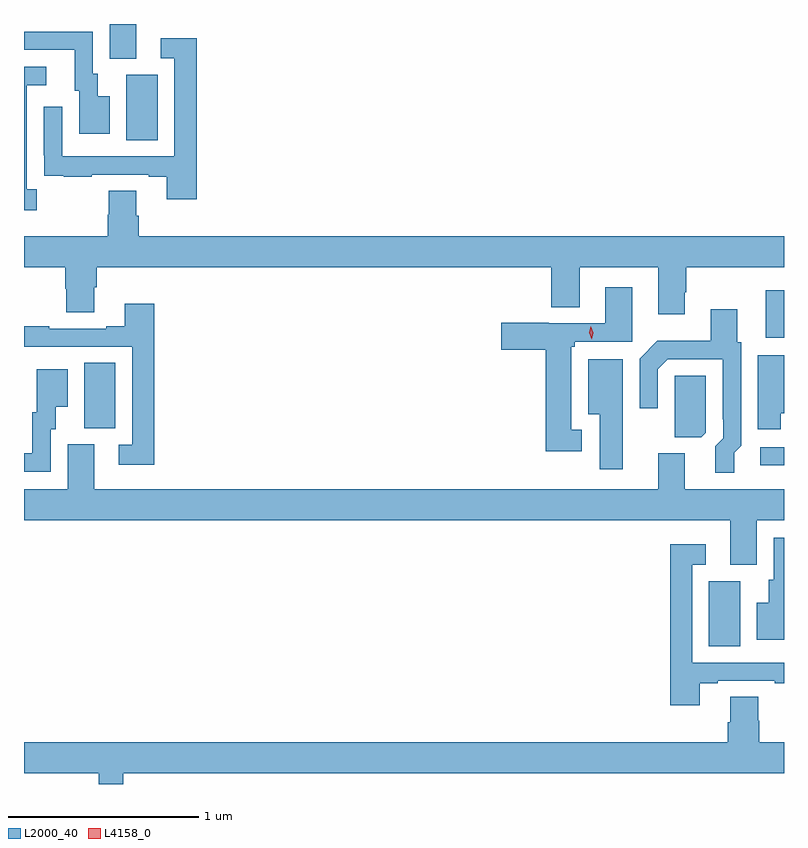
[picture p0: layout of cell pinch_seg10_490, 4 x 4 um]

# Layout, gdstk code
import gdstk
lib = gdstk.Library(unit=1e-6, precision=1e-09)
def R(c, l, rs):  # rectangles x0, y0, x1, y1
    for r in rs: c.add(gdstk.rectangle(r[:2], r[2:], *l))
def P(c, l, *ps):  # polygons
    for p in ps: c.add(gdstk.Polygon(p, *l))
L2000_40 = (2000, 40)
L4158_0 = (4158, 0)

pinch_seg10_490 = lib.new_cell('pinch_seg10_490')
R(pinch_seg10_490, L2000_40, [(210.164,1271.68,210.328,1272.024), (210.435,1272.633,210.559,1272.729), (206.876,1272.829,207.04,1273.172), (210.464,1273.305,210.559,1273.555), (207.098,1274.344,207.262,1274.688), (207.011,1274.773,207.151,1274.956)])
P(pinch_seg10_490, L2000_40, [(207.01,1274.575),(206.947,1274.575),(206.947,1274.694),(206.922,1274.694),(206.922,1274.916),(206.559,1274.916),(206.559,1274.82),(206.825,1274.82),(206.825,1274.604),(206.849,1274.604),(206.849,1274.379),(207.01,1274.379)],
  [(207.467,1274.881),(207.279,1274.881),(207.279,1274.775),(207.351,1274.775),(207.351,1274.259),(206.76,1274.259),(206.76,1274.521),(206.664,1274.521),(206.664,1274.266),(206.665,1274.266),(206.665,1274.157),(206.767,1274.157),(206.767,1274.151),(206.915,1274.151),(206.915,1274.163),(207.215,1274.163),(207.215,1274.151),(207.311,1274.151),(207.311,1274.034),(207.467,1274.034)],
  [(206.626,1274.086),(206.574,1274.086),(206.574,1274.634),(206.677,1274.634),(206.677,1274.73),(206.559,1274.73),(206.559,1273.976),(206.626,1273.976)],
  [(210.037,1273.543),(210.045,1273.543),(210.045,1273.676),(210.559,1273.676),(210.559,1273.84),(207.164,1273.84),(207.164,1273.946),(207.151,1273.946),(207.151,1274.078),(207.004,1274.078),(207.004,1273.953),(206.999,1273.953),(206.999,1273.84),(206.559,1273.84),(206.559,1273.676),(206.777,1273.676),(206.777,1273.563),(206.782,1273.563),(206.782,1273.438),(206.929,1273.438),(206.929,1273.57),(206.942,1273.57),(206.942,1273.676),(209.333,1273.676),(209.333,1273.465),(209.485,1273.465),(209.485,1273.676),(209.897,1273.676),(209.897,1273.428),(210.037,1273.428)],
  [(209.494,1272.821),(209.44,1272.821),(209.44,1273.257),(209.458,1273.257),(209.458,1273.284),(209.761,1273.284),(209.761,1273.57),(209.618,1273.57),(209.618,1273.38),(209.322,1273.38),(209.322,1273.383),(209.07,1273.383),(209.07,1273.241),(209.306,1273.241),(209.306,1272.708),(209.494,1272.708)],
  [(207.245,1273.483),(207.089,1273.483),(207.089,1273.366),(206.993,1273.366),(206.993,1273.353),(206.693,1273.353),(206.693,1273.366),(206.559,1273.366),(206.559,1273.257),(207.129,1273.257),(207.129,1272.741),(207.057,1272.741),(207.057,1272.636),(207.245,1272.636)],
  [(210.298,1272.7),(210.333,1272.735),(210.333,1273.281),(210.313,1273.281),(210.313,1273.456),(210.173,1273.456),(210.173,1273.288),(209.893,1273.288),(209.799,1273.194),(209.799,1272.933),(209.895,1272.933),(209.895,1273.14),(209.946,1273.191),(210.237,1273.191),(210.237,1272.877),(210.24,1272.877),(210.24,1272.777),(210.197,1272.734),(210.197,1272.594),(210.298,1272.594)],
  [(210.543,1272.908),(210.559,1272.908),(210.559,1273.213),(210.422,1273.213),(210.422,1272.822),(210.543,1272.822)],
  [(209.71,1273.192),(209.528,1273.192),(209.528,1272.902),(209.588,1272.902),(209.588,1272.612),(209.71,1272.612)],
  [(206.7,1272.822),(206.725,1272.822),(206.725,1272.941),(206.788,1272.941),(206.788,1273.138),(206.627,1273.138),(206.627,1272.912),(206.603,1272.912),(206.603,1272.696),(206.559,1272.696),(206.559,1272.6),(206.7,1272.6)],
  [(210.147,1272.804),(210.147,1273.106),(209.985,1273.106),(209.985,1272.995),(209.984,1272.995),(209.984,1272.781),(210.123,1272.781)],
  [(210.415,1272.344),(210.559,1272.344),(210.559,1272.508),(210.037,1272.508),(210.037,1272.696),(209.897,1272.696),(209.897,1272.508),(206.929,1272.508),(206.929,1272.744),(206.789,1272.744),(206.789,1272.508),(206.559,1272.508),(206.559,1272.344),(210.275,1272.344),(210.275,1272.109),(210.415,1272.109)],
  [(210.559,1272.252),(210.504,1272.252),(210.504,1272.03),(210.479,1272.03),(210.479,1271.911),(210.416,1271.911),(210.416,1271.715),(210.559,1271.715)],
  [(210.115,1271.487),(210.211,1271.487),(210.211,1271.499),(210.511,1271.499),(210.511,1271.487),(210.559,1271.487),(210.559,1271.595),(210.075,1271.595),(210.075,1272.111),(210.148,1272.111),(210.148,1272.217),(209.959,1272.217),(209.959,1271.37),(210.115,1271.37)],
  [(207.082,1271.012),(210.559,1271.012),(210.559,1271.176),(210.428,1271.176),(210.428,1271.289),(210.423,1271.289),(210.423,1271.414),(210.275,1271.414),(210.275,1271.282),(210.263,1271.282),(210.263,1271.176),(206.559,1271.176),(206.559,1271.012),(206.953,1271.012),(206.953,1270.956),(207.082,1270.956)])
P(pinch_seg10_490, L4158_0, [(209.547,1273.296),(209.547,1273.297),(209.535,1273.33),(209.543,1273.365),(209.543,1273.365),(209.543,1273.365),(209.555,1273.331),(209.547,1273.297)])

lib.write_gds('pinch_seg10_490.gds')
